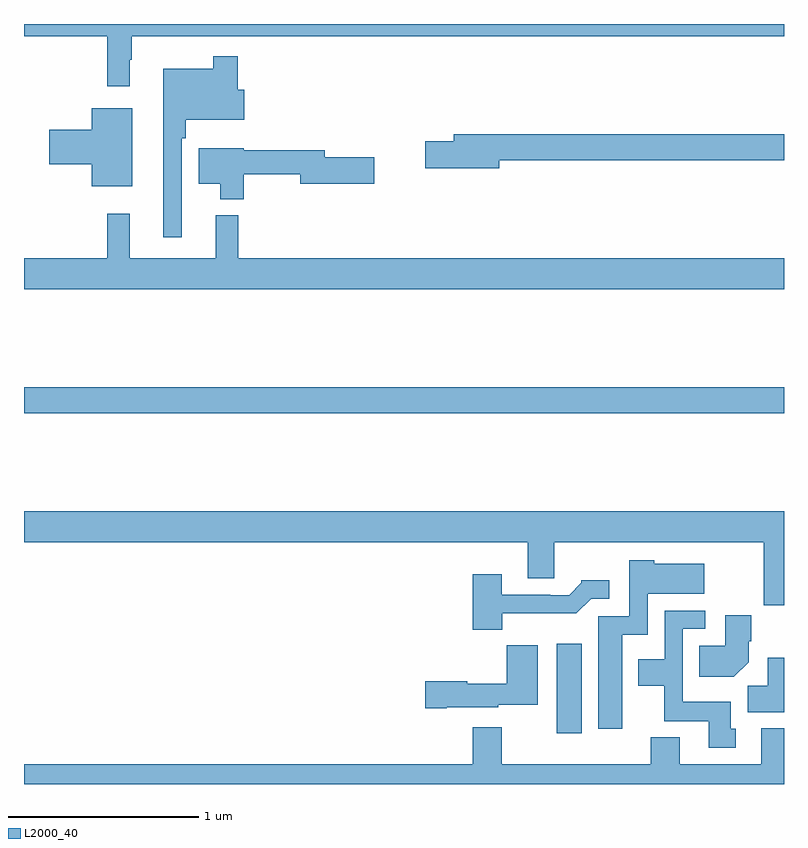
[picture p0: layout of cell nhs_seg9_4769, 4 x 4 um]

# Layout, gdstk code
import gdstk
lib = gdstk.Library(unit=1e-6, precision=1e-09)
def R(c, l, rs):  # rectangles x0, y0, x1, y1
    for r in rs: c.add(gdstk.rectangle(r[:2], r[2:], *l))
def P(c, l, *ps):  # polygons
    for p in ps: c.add(gdstk.Polygon(p, *l))
L2000_40 = (2000, 40)

nhs_seg9_4769 = lib.new_cell('nhs_seg9_4769')
R(nhs_seg9_4769, L2000_40, [(389.804,1176.768,389.935,1177.237), (387,1178.452,391,1178.588)])
P(nhs_seg9_4769, L2000_40, [(387.556,1180.313),(387.568,1180.313),(387.568,1180.436),(391,1180.436),(391,1180.5),(387,1180.5),(387,1180.436),(387.439,1180.436),(387.439,1180.173),(387.556,1180.173)],
  [(387.831,1179.899),(387.851,1179.899),(387.851,1179.995),(388.159,1179.995),(388.159,1180.153),(388.124,1180.153),(388.124,1180.33),(387.996,1180.33),(387.996,1180.264),(387.734,1180.264),(387.734,1179.378),(387.831,1179.378)],
  [(387.571,1180.057),(387.356,1180.057),(387.356,1179.944),(387.132,1179.944),(387.132,1179.761),(387.356,1179.761),(387.356,1179.647),(387.571,1179.647)],
  [(389.5,1179.784),(391,1179.784),(391,1179.92),(389.261,1179.92),(389.261,1179.884),(389.112,1179.884),(389.112,1179.742),(389.5,1179.742)],
  [(388.156,1179.708),(388.454,1179.708),(388.454,1179.658),(388.843,1179.658),(388.843,1179.8),(388.582,1179.8),(388.582,1179.836),(388.156,1179.836),(388.156,1179.847),(387.92,1179.847),(387.92,1179.659),(388.034,1179.659),(388.034,1179.578),(388.156,1179.578)],
  [(391,1179.268),(388.127,1179.268),(388.127,1179.493),(388.01,1179.493),(388.01,1179.268),(387.557,1179.268),(387.557,1179.502),(387.439,1179.502),(387.439,1179.268),(387,1179.268),(387,1179.104),(391,1179.104)],
  [(391,1177.936),(387,1177.936),(387,1177.772),(389.651,1177.772),(389.651,1177.582),(389.791,1177.582),(389.791,1177.772),(390.894,1177.772),(390.894,1177.44),(391,1177.44)],
  [(390.148,1177.286),(390.282,1177.286),(390.282,1177.502),(390.58,1177.502),(390.58,1177.66),(390.318,1177.66),(390.318,1177.678),(390.186,1177.678),(390.186,1177.383),(390.023,1177.383),(390.023,1176.792),(390.148,1176.792)],
  [(389.518,1177.398),(389.907,1177.398),(389.985,1177.476),(390.079,1177.476),(390.079,1177.573),(389.934,1177.573),(389.934,1177.558),(389.87,1177.494),(389.771,1177.494),(389.771,1177.497),(389.515,1177.497),(389.515,1177.603),(389.363,1177.603),(389.363,1177.313),(389.518,1177.313)],
  [(390.745,1176.792),(390.721,1176.792),(390.721,1176.934),(390.468,1176.934),(390.468,1177.317),(390.586,1177.317),(390.586,1177.413),(390.372,1177.413),(390.372,1177.156),(390.233,1177.156),(390.233,1177.016),(390.37,1177.016),(390.37,1176.83),(390.605,1176.83),(390.605,1176.69),(390.745,1176.69)],
  [(390.814,1177.142),(390.814,1177.252),(390.827,1177.252),(390.827,1177.387),(390.692,1177.387),(390.692,1177.228),(390.553,1177.228),(390.553,1177.064),(390.736,1177.064)],
  [(389.224,1176.905),(389.496,1176.905),(389.496,1176.917),(389.704,1176.917),(389.704,1177.231),(389.542,1177.231),(389.542,1177.027),(389.334,1177.027),(389.334,1177.04),(389.112,1177.04),(389.112,1176.898),(389.224,1176.898)],
  [(391,1177.165),(390.914,1177.165),(390.914,1177.016),(390.809,1177.016),(390.809,1176.878),(391,1176.878)],
  [(391,1176.793),(390.881,1176.793),(390.881,1176.604),(390.451,1176.604),(390.451,1176.745),(390.299,1176.745),(390.299,1176.604),(389.515,1176.604),(389.515,1176.799),(389.363,1176.799),(389.363,1176.604),(387,1176.604),(387,1176.5),(391,1176.5)])

lib.write_gds('nhs_seg9_4769.gds')
